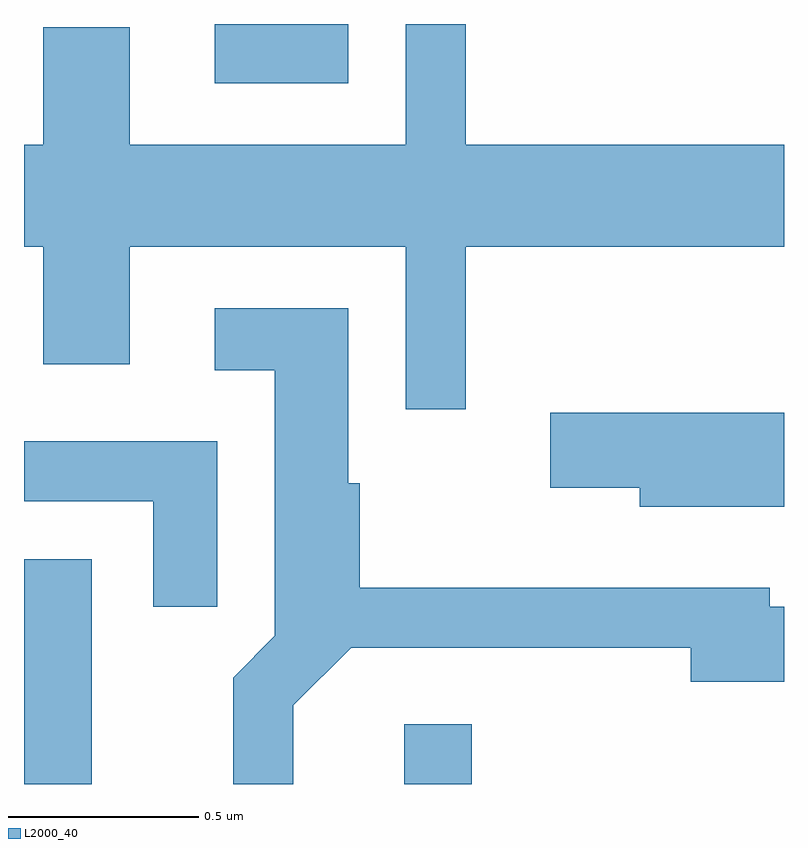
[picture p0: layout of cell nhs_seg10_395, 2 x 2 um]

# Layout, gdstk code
import gdstk
lib = gdstk.Library(unit=1e-6, precision=1e-09)
def R(c, l, rs):  # rectangles x0, y0, x1, y1
    for r in rs: c.add(gdstk.rectangle(r[:2], r[2:], *l))
def P(c, l, *ps):  # polygons
    for p in ps: c.add(gdstk.Polygon(p, *l))
L2000_40 = (2000, 40)

nhs_seg10_395 = lib.new_cell('nhs_seg10_395')
R(nhs_seg10_395, L2000_40, [(187.611,2203.522,187.789,2204.114), (188.611,2203.522,188.789,2203.679), (188.113,2205.366,188.464,2205.522)])
P(nhs_seg10_395, L2000_40, [(188.774,2204.936),(189.611,2204.936),(189.611,2205.204),(188.774,2205.204),(188.774,2205.522),(188.616,2205.522),(188.616,2205.204),(187.889,2205.204),(187.889,2205.514),(187.661,2205.514),(187.661,2205.204),(187.611,2205.204),(187.611,2204.936),(187.661,2204.936),(187.661,2204.626),(187.889,2204.626),(187.889,2204.936),(188.616,2204.936),(188.616,2204.508),(188.774,2204.508)],
  [(188.319,2203.729),(188.472,2203.881),(189.366,2203.881),(189.366,2203.791),(189.611,2203.791),(189.611,2203.989),(189.574,2203.989),(189.574,2204.039),(188.494,2204.039),(188.494,2204.314),(188.464,2204.314),(188.464,2204.774),(188.113,2204.774),(188.113,2204.611),(188.271,2204.611),(188.271,2203.912),(188.161,2203.802),(188.161,2203.522),(188.319,2203.522)],
  [(189.611,2204.499),(188.996,2204.499),(188.996,2204.301),(189.231,2204.301),(189.231,2204.251),(189.611,2204.251)],
  [(188.119,2204.424),(187.611,2204.424),(187.611,2204.266),(187.951,2204.266),(187.951,2203.988),(188.119,2203.988)])

lib.write_gds('nhs_seg10_395.gds')
